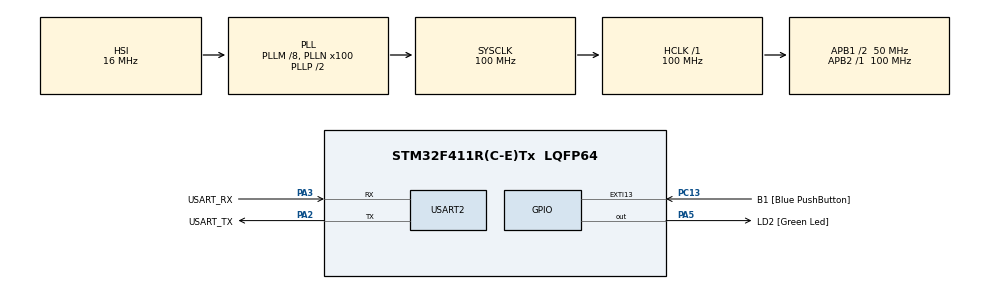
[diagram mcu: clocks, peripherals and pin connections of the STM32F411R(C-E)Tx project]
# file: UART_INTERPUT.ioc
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Mcu.Family=STM32F4
Mcu.Name=STM32F411R(C-E)Tx
Mcu.Package=LQFP64
NVIC.PriorityGroup=NVIC_PRIORITYGROUP_0
NVIC.USART2_IRQn=true\:0\:0\:false\:false\:true\:true\:true\:true
PA13.GPIO_Label=TMS
PA13.Mode=Serial_Wire
PA13.Signal=SYS_JTMS-SWDIO
PA14.GPIO_Label=TCK
PA14.Mode=Serial_Wire
PA14.Signal=SYS_JTCK-SWCLK
PA2.GPIO_Label=USART_TX
PA2.Mode=Asynchronous
PA2.Signal=USART2_TX
PA3.GPIO_Label=USART_RX
PA3.Mode=Asynchronous
PA3.Signal=USART2_RX
PA5.GPIO_Label=LD2 [Green Led]
PA5.Signal=GPIO_Output
PB3.GPIO_Label=SWO
PB3.Signal=SYS_JTDO-SWO
PC13-ANTI_TAMP.GPIO_Label=B1 [Blue PushButton]
PC13-ANTI_TAMP.GPIO_ModeDefaultEXTI=GPIO_MODE_IT_FALLING
PC13-ANTI_TAMP.Signal=GPXTI13
PC14-OSC32_IN.Mode=LSE-External-Oscillator
PC14-OSC32_IN.Signal=RCC_OSC32_IN
PC15-OSC32_OUT.Mode=LSE-External-Oscillator
PC15-OSC32_OUT.Signal=RCC_OSC32_OUT
PH0\ -\ OSC_IN.Mode=HSE-External-Clock-Source
PH0\ -\ OSC_IN.Signal=RCC_OSC_IN
PH1\ -\ OSC_OUT.Mode=HSE-External-Clock-Source
PH1\ -\ OSC_OUT.Signal=RCC_OSC_OUT
ProjectManager.HeapSize=0x200
ProjectManager.StackSize=0x400
ProjectManager.TargetToolchain=STM32CubeIDE
RCC.48MHZClocksFreq_Value=50000000
RCC.AHBFreq_Value=100000000
RCC.APB1CLKDivider=RCC_HCLK_DIV2
RCC.APB1Freq_Value=50000000
RCC.APB1TimFreq_Value=100000000
RCC.APB2Freq_Value=100000000
RCC.APB2TimFreq_Value=100000000
RCC.CortexFreq_Value=100000000
RCC.FLatency-AdvancedSettings=FLASH_LATENCY_3
RCC.HCLKFreq_Value=100000000
RCC.HSE_VALUE=8000000
RCC.HSI_VALUE=16000000
RCC.PLLM=8
RCC.PLLN=100
RCC.SYSCLKFreq_VALUE=100000000
RCC.SYSCLKSource=RCC_SYSCLKSOURCE_PLLCLK
RCC.VCOOutputFreq_Value=200000000
USART2.VirtualMode=VM_ASYNC
board=NUCLEO-F411RE

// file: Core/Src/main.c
/* USER CODE BEGIN Header */
/* USER CODE END Header */
#include "main.h"
#include "usart.h"
#include "gpio.h"

/* USER CODE BEGIN Includes */
#include <string.h>
/* USER CODE END Includes */

/* USER CODE BEGIN PV */
void read_data();
void process_command();
/* USER CODE END PV */

void SystemClock_Config(void);
/* USER CODE BEGIN PFP */
uint8_t data=0;
uint8_t buffer[100];
volatile uint8_t buf_index=0;
/* USER CODE END PFP */

int main(void)
{

  /* MCU Configuration--------------------------------------------------------*/

  /* Reset of all peripherals, Initializes the Flash interface and the Systick. */
  HAL_Init();

  /* Configure the system clock */
  SystemClock_Config();

  /* Initialize all configured peripherals */
  MX_GPIO_Init();
  MX_USART2_UART_Init();
  /* USER CODE BEGIN 2 */
  HAL_UART_Receive_IT(&huart2, &data, 1);
  /* USER CODE END 2 */

  /* Infinite loop */

    /* USER CODE BEGIN 3 */
  while(1)
  {
	  read_data();
  }
  /* USER CODE END 3 */
}

void SystemClock_Config(void)
{
  RCC_OscInitTypeDef RCC_OscInitStruct = {0};
  RCC_ClkInitTypeDef RCC_ClkInitStruct = {0};

  /** Configure the main internal regulator output voltage
  */
  __HAL_RCC_PWR_CLK_ENABLE();
  __HAL_PWR_VOLTAGESCALING_CONFIG(PWR_REGULATOR_VOLTAGE_SCALE1);

  /** Initializes the RCC Oscillators according to the specified parameters
  * in the RCC_OscInitTypeDef structure.
  */
  RCC_OscInitStruct.OscillatorType = RCC_OSCILLATORTYPE_HSI;
  RCC_OscInitStruct.HSIState = RCC_HSI_ON;
  RCC_OscInitStruct.HSICalibrationValue = RCC_HSICALIBRATION_DEFAULT;
  RCC_OscInitStruct.PLL.PLLState = RCC_PLL_ON;
  RCC_OscInitStruct.PLL.PLLSource = RCC_PLLSOURCE_HSI;
  RCC_OscInitStruct.PLL.PLLM = 8;
  RCC_OscInitStruct.PLL.PLLN = 100;
  RCC_OscInitStruct.PLL.PLLP = RCC_PLLP_DIV2;
  RCC_OscInitStruct.PLL.PLLQ = 4;
  if (HAL_RCC_OscConfig(&RCC_OscInitStruct) != HAL_OK)
  {
    Error_Handler();
  }

  /** Initializes the CPU, AHB and APB buses clocks
  */
  RCC_ClkInitStruct.ClockType = RCC_CLOCKTYPE_HCLK|RCC_CLOCKTYPE_SYSCLK
                              |RCC_CLOCKTYPE_PCLK1|RCC_CLOCKTYPE_PCLK2;
  RCC_ClkInitStruct.SYSCLKSource = RCC_SYSCLKSOURCE_PLLCLK;
  RCC_ClkInitStruct.AHBCLKDivider = RCC_SYSCLK_DIV1;
  RCC_ClkInitStruct.APB1CLKDivider = RCC_HCLK_DIV2;
  RCC_ClkInitStruct.APB2CLKDivider = RCC_HCLK_DIV1;

  if (HAL_RCC_ClockConfig(&RCC_ClkInitStruct, FLASH_LATENCY_3) != HAL_OK)
  {
    Error_Handler();
  }
}

/* USER CODE BEGIN 4 */
void HAL_UART_RxCpltCallback(UART_HandleTypeDef *huart)
{
	if(huart->Instance == USART2)
	{
		buffer[buf_index++] = data;
		if(buf_index >= sizeof(buffer))
		{
			buf_index= 0;
		}
		HAL_UART_Receive_IT(&huart2, &data, 1);
	}
}
void read_data()
{
	uint8_t buf_index_main;
	__disable_irq();
	    buf_index_main = buf_index;
	 __enable_irq();
	if(buf_index_main>2)
	{
	    if( buffer[buf_index_main-2] == '\r' && buffer[buf_index_main-1]== '\n' )
	{
	    __disable_irq();
		buffer[buf_index_main-2]= '\0';
		buf_index = 0;
		__enable_irq();
		process_command();
	}
	}
}
void process_command()
{
	if(strcmp((char*)buffer, "bat")==0)
	{
		HAL_GPIO_WritePin(GPIOA,GPIO_PIN_5,SET);
		HAL_UART_Transmit_IT(&huart2, (uint8_t*)"da sang\r\n", 9);

	}
	else if(strcmp((char*)buffer, "tat") == 0)
	{
		HAL_GPIO_WritePin(GPIOA,GPIO_PIN_5,RESET);
		HAL_UART_Transmit_IT(&huart2, (uint8_t*)"da tat\r\n", 8);

	}
}
/* USER CODE END 4 */

void Error_Handler(void)
{
}
